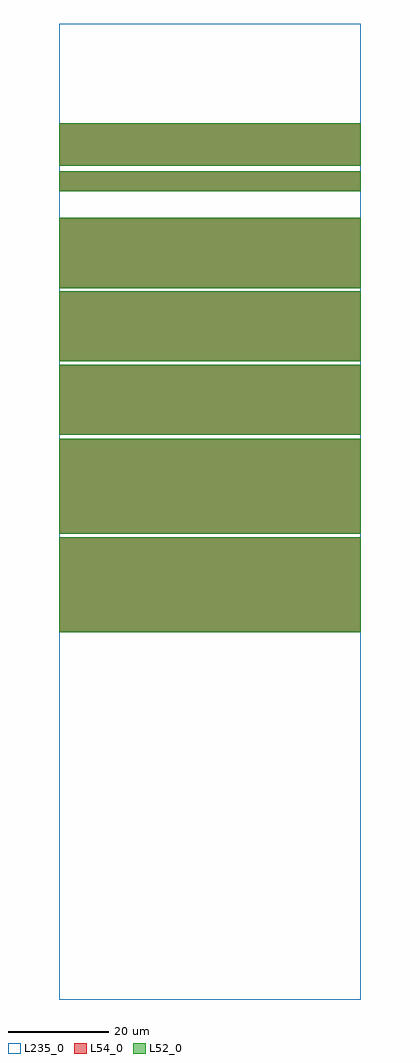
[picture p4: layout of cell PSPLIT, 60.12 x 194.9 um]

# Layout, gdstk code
import gdstk
lib = gdstk.Library(unit=1e-6, precision=1e-09)
def R(c, l, rs):  # rectangles x0, y0, x1, y1
    for r in rs: c.add(gdstk.rectangle(r[:2], r[2:], *l))
L52_0 = (52, 0)
L54_0 = (54, 0)
L235_0 = (235, 0)

psplit = lib.new_cell('PSPLIT')
R(psplit, L52_0, [(0,73.3,60.12,92.3), (0,92.99,60.12,111.99), (0,112.79,60.12,126.79), (0,127.44,60.12,141.44), (0,142.08,60.12,156.08), (0,161.39,60.12,165.39), (0,166.47,60.12,174.97)])
R(psplit, L54_0, [(0,73.3,60.12,92.3), (0,92.99,60.12,111.99), (0,112.79,60.12,126.79), (0,127.44,60.12,141.44), (0,142.08,60.12,156.08), (0,161.39,60.12,165.39), (0,166.47,60.12,174.97)])
R(psplit, L235_0, [(0,0,60.12,194.9)])

lib.write_gds('PSPLIT.gds')
